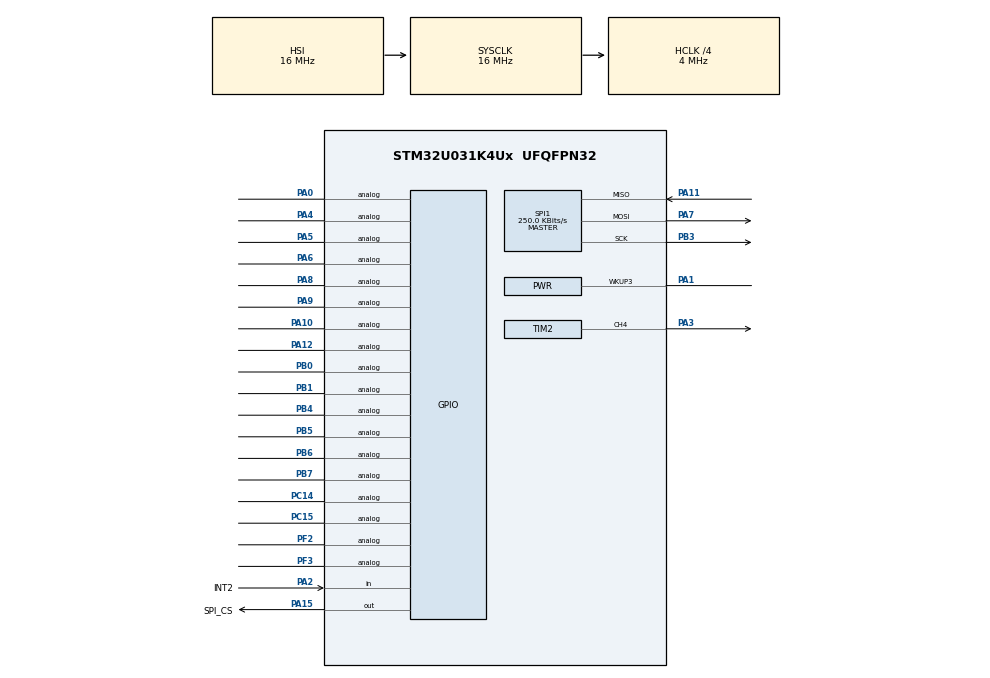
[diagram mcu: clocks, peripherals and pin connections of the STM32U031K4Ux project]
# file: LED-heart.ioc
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Mcu.Family=STM32U0
Mcu.Name=STM32U031K4Ux
Mcu.Package=UFQFPN32
NVIC.PriorityGroup=NVIC_PRIORITYGROUP_2
NVIC.RTC_TAMP_IRQn=true\:0\:0\:false\:false\:true\:true\:true\:true
NVIC.SPI1_IRQn=true\:0\:0\:false\:false\:true\:true\:true\:true
PA0-CK_IN.Signal=GPIO_Analog
PA1.Mode=WakeUp3
PA1.Signal=PWR_WKUP3
PA10.Signal=GPIO_Analog
PA11\ [PA9].Mode=Full_Duplex_Master
PA11\ [PA9].Signal=SPI1_MISO
PA12\ [PA10].Signal=GPIO_Analog
PA13\ (SWDIO).Mode=Serial_Wire
PA13\ (SWDIO).Signal=DEBUG_JTMS-SWDIO
PA14\ (SWCLK).Mode=Serial_Wire
PA14\ (SWCLK).Signal=DEBUG_JTCK-SWCLK
PA15.GPIO_Label=SPI_CS
PA15.PinState=GPIO_PIN_SET
PA15.Signal=GPIO_Output
PA2.GPIO_Label=INT2
PA2.Signal=GPIO_Input
PA3.Signal=S_TIM2_CH4
PA4.Signal=GPIO_Analog
PA5.Signal=GPIO_Analog
PA6.Signal=GPIO_Analog
PA7.Mode=Full_Duplex_Master
PA7.Signal=SPI1_MOSI
PA8.Signal=GPIO_Analog
PA9.Signal=GPIO_Analog
PB0.Signal=GPIO_Analog
PB1.Signal=GPIO_Analog
PB3.GPIO_PuPd=GPIO_PULLDOWN
PB3.Mode=Full_Duplex_Master
PB3.Signal=SPI1_SCK
PB4.Signal=GPIO_Analog
PB5.Signal=GPIO_Analog
PB6.Signal=GPIO_Analog
PB7.Signal=GPIO_Analog
PC14-OSC32_IN.Signal=GPIO_Analog
PC15-OSC32_OUT.Signal=GPIO_Analog
PF2-NRST.Signal=GPIO_Analog
PF3-BOOT0\ (BOOT0).Signal=GPIO_Analog
ProjectManager.HeapSize=0x200
ProjectManager.StackSize=0x400
ProjectManager.TargetToolchain=CMake
RCC.AHBCLKDivider=RCC_SYSCLK_DIV4
RCC.AHBFreq_Value=4000000
RCC.CortexFreq_Value=4000000
RCC.HCLKFreq_Value=4000000
RCC.HSE_VALUE=4000000
RCC.HSI48_VALUE=48000000
RCC.HSI_VALUE=16000000
RCC.LSE_VALUE=32768
RCC.MSI_VALUE=4000000
RCC.SYSCLKFreq_VALUE=16000000
RCC.VCOOutputFreq_Value=64000000
RCC.VDD_VALUE=3
SH.S_TIM2_CH4.0=TIM2_CH4,PWM Generation4 CH4
SPI1.BaudRatePrescaler=SPI_BAUDRATEPRESCALER_16
SPI1.CalculateBaudRate=250.0 KBits/s
SPI1.DataSize=SPI_DATASIZE_8BIT
SPI1.Direction=SPI_DIRECTION_2LINES
SPI1.Mode=SPI_MODE_MASTER
SPI1.NSSPMode=SPI_NSS_PULSE_DISABLE
SPI1.VirtualType=VM_MASTER
TIM2.Channel-PWM\ Generation4\ CH4=TIM_CHANNEL_4
TIM2.Period=249
TIM2.Prescaler=15
VP_PWR_VS_SECSignals.Mode=Security/Privilege
VP_RTC_VS_RTC_Activate.Mode=RTC_Enabled
VP_RTC_VS_RTC_WakeUp_intern.Mode=WakeUp
board=custom

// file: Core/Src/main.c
/* USER CODE BEGIN Header */
/**
  ******************************************************************************
  * @file           : main.c
  * @brief          : Main program body
  ******************************************************************************
  * @attention
  *
  * Copyright (c) 2026 STMicroelectronics.
  * All rights reserved.
  *
  * This software is licensed under terms that can be found in the LICENSE file
  * in the root directory of this software component.
  * If no LICENSE file comes with this software, it is provided AS-IS.
  *
  ******************************************************************************
  */

/* USER CODE END Header */
#include "main.h"

/* USER CODE BEGIN Includes */
#include <stdio.h>
#include "LIS2DW12.h"
#include "stm32u0xx_hal.h"
#include "stm32u0xx_hal_gpio.h"
/* USER CODE END Includes */

/* USER CODE BEGIN PTD */
typedef enum {
    SLEEP_MODE_LIGHT,
    SLEEP_MODE_DEEP,
    SLEEP_MODE_DEEP_FORCE
} SleepMode_t;

typedef enum {
    BEAT_LUB_RAMP_UP,
    BEAT_LUB_RAMP_DOWN,
    BEAT_GAP,
    BEAT_DUB_RAMP_UP,
    BEAT_DUB_RAMP_DOWN,
    BEAT_REST
} BeatPhase_t;

/* USER CODE END PTD */

/* USER CODE BEGIN PD */
#define SLEEP_TIMEOUT_MS 30000
#define LED_PWM_MAX 249  //matches TIM2 Period (ARR)

//Beat shape. "Lub" is the smaller first thump, "dub" the stronger second thump,
//separated by a short gap, followed by a longer rest before the next heartbeat.
#define LUB_RAMP_MS 40
#define GAP_MS      80
#define DUB_RAMP_MS 80

//RTC wakeup timer ticks per millisecond. RTCCLK is LSI (32 kHz, LSI_VALUE in
//stm32u0xx_hal_conf.h) and RTC_WAKEUPCLOCK_RTCCLK_DIV16 divides it by 16, giving
//2000 Hz - one tick per 0.5 ms. The 16-bit counter therefore spans 32.7 s, well
//over our 2000 ms longest sleep. This path bypasses the RTC prescalers entirely,
//so the calendar's 32768-vs-32000 mismatch does not apply.
#define RTC_WUT_TICKS_PER_MS 2u

//Shortest idle worth taking Stop 2 for. Below this the clock restart and the
//RTC arm/disarm cost more than the sleep saves, so plain WFI wins.
#define STOP_MIN_MS 20u
/* USER CODE END PD */

RTC_HandleTypeDef hrtc;

SPI_HandleTypeDef hspi1;

TIM_HandleTypeDef htim2;

/* USER CODE BEGIN PV */

/* Beat state machine position. File scope rather than static-local to led_tick()
   so the idle scheduler can ask how long the current phase has left to run. */
static BeatPhase_t beat_phase = BEAT_LUB_RAMP_UP;
static uint32_t beat_phase_start_tick = 0;

/* USER CODE END PV */

void SystemClock_Config(void);
static void MX_GPIO_Init(void);
static void MX_SPI1_Init(void);
static void MX_TIM2_Init(void);
static void MX_RTC_Init(void);
/* USER CODE BEGIN PFP */
uint8_t calculate_movement_score(int8_t acceleration_data[256][3]);
void go_to_sleep(SleepMode_t mode);
void auto_sleep_tick(uint8_t movement_score);
void led_tick(uint8_t movement_score);
static uint32_t beat_rest_ms(uint8_t movement_score);
static uint32_t led_ms_until_next_update(uint8_t movement_score);
static uint8_t led_phase_just_entered_rest(void);
static void sleep_stop2_ms(uint32_t ms);

/* USER CODE END PFP */

int main(void)
{

  /* MCU Configuration--------------------------------------------------------*/

  /* Reset of all peripherals, Initializes the Flash interface and the Systick. */
  HAL_Init();

  /* Configure the system clock */
  SystemClock_Config();

  /* Initialize all configured peripherals */
  MX_GPIO_Init();
  MX_SPI1_Init();
  MX_TIM2_Init();
  MX_RTC_Init();
  /* USER CODE BEGIN 2 */
  //Wake from Stop straight onto HSI16. The AHB prescaler (/4) is kept in RCC_CFGR
  //across Stop, so this lands back on HCLK = 4 MHz with flash latency 0 still
  //correct - identical to the running config, and no clock reconfiguration is
  //needed on each wake. Waking onto MSI instead would change HCLK and silently
  //shift every timing constant.
  __HAL_RCC_WAKEUPSTOP_CLK_CONFIG(RCC_STOP_WAKEUPCLOCK_HSI);

  HAL_TIM_PWM_Start(&htim2, TIM_CHANNEL_4);

  //If accelerometer init fails, flash light and then go to sleep forever
  HAL_Delay(1);
  if (LIS2DW12_init(&hspi1) != 0){
    uint32_t flash_start_time = HAL_GetTick();

    while (HAL_GetTick() < flash_start_time + 10000){
      __HAL_TIM_SET_COMPARE(&htim2, TIM_CHANNEL_4, LED_PWM_MAX); // full on
      HAL_Delay(100);
      __HAL_TIM_SET_COMPARE(&htim2, TIM_CHANNEL_4, 0);           // off
      HAL_Delay(100);
    }
    go_to_sleep(SLEEP_MODE_DEEP_FORCE);

    while (1){
      __NOP();
    }
  }
  /* USER CODE END 2 */

  /* Infinite loop */
  /* USER CODE BEGIN WHILE */

  while (1)
  {
    static int8_t acceleration_data[256][3];
    static uint8_t FIFO_unread_length = 0;
    static uint8_t movement_score = 0;

    led_tick(movement_score);

    //Service the accelerometer once per beat, at the moment the beat enters its
    //rest phase. The read costs roughly 10ms (three HAL_Delay(1) inside the driver,
    //a ~150 byte burst at 250 kbit/s, then the 256-sample score), which disappears
    //inside a 150-2000ms rest but would visibly stutter a 40ms ramp.
    //
    //Deferring the read like this is also what makes sleeping safe: INT2 is left as
    //a polled input rather than a wake source, so every sleep runs for exactly the
    //duration we asked for and the SysTick correction in sleep_stop2_ms() is exact.
    //The cost is that motion starting mid-rest is not noticed until the next beat,
    //up to ~2.2s at the slowest rate.
    if (led_phase_just_entered_rest()){

      if (HAL_GPIO_ReadPin(INT2_GPIO_Port, INT2_Pin) == 1){
        if (LIS2DW12_read_FIFO(&hspi1, &FIFO_unread_length, acceleration_data) == 0){
          movement_score = calculate_movement_score(acceleration_data);
        }
        else {
          //Error reading FIFO
          __NOP();
        }
      }

      //Only reacts to movement_score, which now only changes here.
      auto_sleep_tick(movement_score);
    }

    //Idle out whatever is left before the PWM must next move. The long static
    //stretches (gap and rest) are worth stopping the CPU for; during the ramps the
    //duty changes every tick, so just gate the core clock until the next SysTick.
    uint32_t idle_ms = led_ms_until_next_update(movement_score);

    if (idle_ms >= STOP_MIN_MS){
      sleep_stop2_ms(idle_ms);
    }
    else {
      HAL_PWR_EnterSLEEPMode(PWR_MAINREGULATOR_ON, PWR_SLEEPENTRY_WFI);
    }

    /* USER CODE END WHILE */

  }
}

void SystemClock_Config(void)
{
  RCC_OscInitTypeDef RCC_OscInitStruct = {0};
  RCC_ClkInitTypeDef RCC_ClkInitStruct = {0};

  /** Configure the main internal regulator output voltage
  */
  HAL_PWREx_ControlVoltageScaling(PWR_REGULATOR_VOLTAGE_SCALE2);

  /** Initializes the RCC Oscillators according to the specified parameters
  * in the RCC_OscInitTypeDef structure.
  */
  RCC_OscInitStruct.OscillatorType = RCC_OSCILLATORTYPE_HSI|RCC_OSCILLATORTYPE_LSI;
  RCC_OscInitStruct.HSIState = RCC_HSI_ON;
  RCC_OscInitStruct.HSICalibrationValue = RCC_HSICALIBRATION_DEFAULT;
  RCC_OscInitStruct.LSIState = RCC_LSI_ON;
  RCC_OscInitStruct.PLL.PLLState = RCC_PLL_NONE;
  if (HAL_RCC_OscConfig(&RCC_OscInitStruct) != HAL_OK)
  {
    Error_Handler();
  }

  /** Initializes the CPU, AHB and APB buses clocks
  */
  RCC_ClkInitStruct.ClockType = RCC_CLOCKTYPE_HCLK|RCC_CLOCKTYPE_SYSCLK
                              |RCC_CLOCKTYPE_PCLK1;
  RCC_ClkInitStruct.SYSCLKSource = RCC_SYSCLKSOURCE_HSI;
  RCC_ClkInitStruct.AHBCLKDivider = RCC_SYSCLK_DIV4;
  RCC_ClkInitStruct.APB1CLKDivider = RCC_HCLK_DIV1;

  if (HAL_RCC_ClockConfig(&RCC_ClkInitStruct, FLASH_LATENCY_0) != HAL_OK)
  {
    Error_Handler();
  }
}

static void MX_RTC_Init(void)
{

  /** Initialize RTC Only
  */
  hrtc.Instance = RTC;
  hrtc.Init.HourFormat = RTC_HOURFORMAT_24;
  hrtc.Init.AsynchPrediv = 127;
  hrtc.Init.SynchPrediv = 255;
  hrtc.Init.OutPut = RTC_OUTPUT_DISABLE;
  hrtc.Init.OutPutRemap = RTC_OUTPUT_REMAP_NONE;
  hrtc.Init.OutPutPolarity = RTC_OUTPUT_POLARITY_HIGH;
  hrtc.Init.OutPutType = RTC_OUTPUT_TYPE_OPENDRAIN;
  hrtc.Init.OutPutPullUp = RTC_OUTPUT_PULLUP_NONE;
  hrtc.Init.BinMode = RTC_BINARY_NONE;
  if (HAL_RTC_Init(&hrtc) != HAL_OK)
  {
    Error_Handler();
  }

  /** Enable the WakeUp
  */
  if (HAL_RTCEx_SetWakeUpTimer_IT(&hrtc, 0, RTC_WAKEUPCLOCK_RTCCLK_DIV16, 0) != HAL_OK)
  {
    Error_Handler();
  }
  /* USER CODE BEGIN RTC_Init 2 */
  /* CubeMX arms the wakeup timer above with a reload of 0, which at RTCCLK/16
     retriggers every 0.5ms forever. We drive the timer per-sleep from
     sleep_stop2_ms() instead, so shut it down until the first sleep asks for it.
     Kept here rather than deleting the generated call, which would come back on
     the next regeneration. */
  HAL_RTCEx_DeactivateWakeUpTimer(&hrtc);
  /* USER CODE END RTC_Init 2 */

}

static void MX_SPI1_Init(void)
{

  /* SPI1 parameter configuration*/
  hspi1.Instance = SPI1;
  hspi1.Init.Mode = SPI_MODE_MASTER;
  hspi1.Init.Direction = SPI_DIRECTION_2LINES;
  hspi1.Init.DataSize = SPI_DATASIZE_8BIT;
  hspi1.Init.CLKPolarity = SPI_POLARITY_LOW;
  hspi1.Init.CLKPhase = SPI_PHASE_1EDGE;
  hspi1.Init.NSS = SPI_NSS_SOFT;
  hspi1.Init.BaudRatePrescaler = SPI_BAUDRATEPRESCALER_16;
  hspi1.Init.FirstBit = SPI_FIRSTBIT_MSB;
  hspi1.Init.TIMode = SPI_TIMODE_DISABLE;
  hspi1.Init.CRCCalculation = SPI_CRCCALCULATION_DISABLE;
  hspi1.Init.CRCPolynomial = 7;
  hspi1.Init.CRCLength = SPI_CRC_LENGTH_DATASIZE;
  hspi1.Init.NSSPMode = SPI_NSS_PULSE_DISABLE;
  if (HAL_SPI_Init(&hspi1) != HAL_OK)
  {
    Error_Handler();
  }

}

static void MX_TIM2_Init(void)
{

  TIM_MasterConfigTypeDef sMasterConfig = {0};
  TIM_OC_InitTypeDef sConfigOC = {0};

  htim2.Instance = TIM2;
  htim2.Init.Prescaler = 15;
  htim2.Init.CounterMode = TIM_COUNTERMODE_UP;
  htim2.Init.Period = 249;
  htim2.Init.ClockDivision = TIM_CLOCKDIVISION_DIV1;
  htim2.Init.AutoReloadPreload = TIM_AUTORELOAD_PRELOAD_DISABLE;
  if (HAL_TIM_PWM_Init(&htim2) != HAL_OK)
  {
    Error_Handler();
  }
  sMasterConfig.MasterOutputTrigger = TIM_TRGO_RESET;
  sMasterConfig.MasterSlaveMode = TIM_MASTERSLAVEMODE_DISABLE;
  if (HAL_TIMEx_MasterConfigSynchronization(&htim2, &sMasterConfig) != HAL_OK)
  {
    Error_Handler();
  }
  sConfigOC.OCMode = TIM_OCMODE_PWM1;
  sConfigOC.Pulse = 0;
  sConfigOC.OCPolarity = TIM_OCPOLARITY_HIGH;
  sConfigOC.OCFastMode = TIM_OCFAST_DISABLE;
  if (HAL_TIM_PWM_ConfigChannel(&htim2, &sConfigOC, TIM_CHANNEL_4) != HAL_OK)
  {
    Error_Handler();
  }
  HAL_TIM_MspPostInit(&htim2);

}

static void MX_GPIO_Init(void)
{
  GPIO_InitTypeDef GPIO_InitStruct = {0};

  /* GPIO Ports Clock Enable */
  __HAL_RCC_GPIOC_CLK_ENABLE();
  __HAL_RCC_GPIOF_CLK_ENABLE();
  __HAL_RCC_GPIOA_CLK_ENABLE();
  __HAL_RCC_GPIOB_CLK_ENABLE();

  /*Configure GPIO pin Output Level */
  HAL_GPIO_WritePin(SPI_CS_GPIO_Port, SPI_CS_Pin, GPIO_PIN_SET);

  /*Configure GPIO pins : PC14 PC15 */
  GPIO_InitStruct.Pin = GPIO_PIN_14|GPIO_PIN_15;
  GPIO_InitStruct.Mode = GPIO_MODE_ANALOG;
  GPIO_InitStruct.Pull = GPIO_NOPULL;
  HAL_GPIO_Init(GPIOC, &GPIO_InitStruct);

  /*Configure GPIO pins : PF2 PF3 */
  GPIO_InitStruct.Pin = GPIO_PIN_2|GPIO_PIN_3;
  GPIO_InitStruct.Mode = GPIO_MODE_ANALOG;
  GPIO_InitStruct.Pull = GPIO_NOPULL;
  HAL_GPIO_Init(GPIOF, &GPIO_InitStruct);

  /*Configure GPIO pins : PA0 PA4 PA5 PA6
                           PA8 PA9 PA10 PA12 */
  GPIO_InitStruct.Pin = GPIO_PIN_0|GPIO_PIN_4|GPIO_PIN_5|GPIO_PIN_6
                          |GPIO_PIN_8|GPIO_PIN_9|GPIO_PIN_10|GPIO_PIN_12;
  GPIO_InitStruct.Mode = GPIO_MODE_ANALOG;
  GPIO_InitStruct.Pull = GPIO_NOPULL;
  HAL_GPIO_Init(GPIOA, &GPIO_InitStruct);

  /*Configure GPIO pin : INT2_Pin */
  GPIO_InitStruct.Pin = INT2_Pin;
  GPIO_InitStruct.Mode = GPIO_MODE_INPUT;
  GPIO_InitStruct.Pull = GPIO_NOPULL;
  HAL_GPIO_Init(INT2_GPIO_Port, &GPIO_InitStruct);

  /*Configure GPIO pins : PB0 PB1 PB4 PB5
                           PB6 PB7 */
  GPIO_InitStruct.Pin = GPIO_PIN_0|GPIO_PIN_1|GPIO_PIN_4|GPIO_PIN_5
                          |GPIO_PIN_6|GPIO_PIN_7;
  GPIO_InitStruct.Mode = GPIO_MODE_ANALOG;
  GPIO_InitStruct.Pull = GPIO_NOPULL;
  HAL_GPIO_Init(GPIOB, &GPIO_InitStruct);

  /*Configure GPIO pin : SPI_CS_Pin */
  GPIO_InitStruct.Pin = SPI_CS_Pin;
  GPIO_InitStruct.Mode = GPIO_MODE_OUTPUT_PP;
  GPIO_InitStruct.Pull = GPIO_NOPULL;
  GPIO_InitStruct.Speed = GPIO_SPEED_FREQ_LOW;
  HAL_GPIO_Init(SPI_CS_GPIO_Port, &GPIO_InitStruct);

}

/* USER CODE BEGIN 4 */

#define MOVEMENT_MAX_AVG_DELTA 15

uint8_t calculate_movement_score(int8_t acceleration_data[256][3]){

  uint32_t total_variation = 0;

  //Sum the sample-to-sample change on each axis. Using deltas rather than raw magnitude cancels
  //out the constant gravity offset baked into whichever axis is vertical, so the score reflects
  //actual motion rather than orientation.
  for (uint16_t i = 1; i < 256; i++){
    for (uint8_t axis = 0; axis < 3; axis++){
      int16_t delta = (int16_t)acceleration_data[i][axis] - (int16_t)acceleration_data[i - 1][axis];
      total_variation += (delta < 0) ? -delta : delta;
    }
  }

  uint32_t avg_delta = total_variation / (255 * 3);
  uint32_t score = (avg_delta * 100) / MOVEMENT_MAX_AVG_DELTA;
  if (score > 100) score = 100;

  return (uint8_t)score;
}

/* Bit mask covering all 16 I/O positions. The PWR pull helpers mask this
   down to the pins that actually exist on the sparse ports (D, F) internally. */
#define ALL_GPIO_PINS (PWR_GPIO_BIT_0  | PWR_GPIO_BIT_1  | PWR_GPIO_BIT_2  | PWR_GPIO_BIT_3  | \
                       PWR_GPIO_BIT_4  | PWR_GPIO_BIT_5  | PWR_GPIO_BIT_6  | PWR_GPIO_BIT_7  | \
                       PWR_GPIO_BIT_8  | PWR_GPIO_BIT_9  | PWR_GPIO_BIT_10 | PWR_GPIO_BIT_11 | \
                       PWR_GPIO_BIT_12 | PWR_GPIO_BIT_13 | PWR_GPIO_BIT_14 | PWR_GPIO_BIT_15)

/* Entering Shutdown releases the GPIO output drivers and only the PWR block's pull
   config survives, so it alone decides what every net sits at while asleep. The
   STM32's own I/O logic is unpowered - a floating pin costs the MCU nothing - so
   the pulls exist purely for the parts on the other end of the nets, and which
   direction each one needs depends on who drives it:

     - Sensor INPUTS (SCK PB3, SDI PA7, CS PA15) must be held. Left floating they
       drift to mid-rail and burn crowbar current in the LIS2DW12's input buffers.
       CS is held HIGH to keep the device deselected; the rest idle low (CPOL=0).
     - Sensor OUTPUTS (SDO PA11, INT1 PA1, INT2 PA2) must be left alone. These are
       push-pull drivers, so a pull cannot help and can only fight: a ~40k pull-down
       against a driver asserting high wastes ~70uA at 2.8V. INT2 is the trap - it
       is not a wake pin, so it can sit asserted and burn current indefinitely
       without ever waking the board to reveal the problem.
     - PA3 drives the LED and is held LOW so the LED (or its driver) stays off.
     - PA13/PA14 are SWDIO/SWCLK, left unpulled so we never fight a debug probe.
     - Everything else is unconnected; pulled low as harmless insurance. */
#define PORT_A_SENSOR_OUTPUTS (PWR_GPIO_BIT_1 | PWR_GPIO_BIT_2 | PWR_GPIO_BIT_11)
#define PORT_A_SWD_PINS       (PWR_GPIO_BIT_13 | PWR_GPIO_BIT_14)
#define PORT_A_PULLDOWN_PINS  (ALL_GPIO_PINS & ~(PORT_A_SENSOR_OUTPUTS | \
                                                 PORT_A_SWD_PINS | PWR_GPIO_BIT_15))

static void configure_shutdown_pin_pulls(void){
  HAL_PWREx_EnableGPIOPullDown(PWR_GPIO_A, PORT_A_PULLDOWN_PINS);
  HAL_PWREx_EnableGPIOPullUp(PWR_GPIO_A, PWR_GPIO_BIT_15);
  HAL_PWREx_EnableGPIOPullDown(PWR_GPIO_B, ALL_GPIO_PINS);
  HAL_PWREx_EnableGPIOPullDown(PWR_GPIO_C, ALL_GPIO_PINS);
  HAL_PWREx_EnableGPIOPullDown(PWR_GPIO_D, ALL_GPIO_PINS);
  HAL_PWREx_EnableGPIOPullDown(PWR_GPIO_F, ALL_GPIO_PINS);
  HAL_PWREx_EnablePullUpPullDownConfig();
}

/* Wait for the accelerometer's INT1 to be quiet before arming WKUP3.
   PWR_WAKEUP_PIN3_HIGH is level-triggered, so arming it while INT1 is still
   asserted sets WUF3 immediately and Shutdown exits the moment it is entered -
   clearing the flag first does not help, because the level re-sets it. That is
   exactly the ~650ms false-sleep: the wake engine was still chewing through the
   filter transient left by configure_sleep's ODR/FS change, INT1 was high, and the
   board woke and reset instead of sleeping.

   The settle delay in configure_sleep gets most of the way there; this closes the
   gap adaptively rather than relying on that delay being exactly long enough.
   INT1 is pulsed (CTRL3.LIR = 0), so re-reading the source registers each pass
   drops anything latched while we wait.

   Returns 1 if INT1 settled low, 0 if it was still asserted at the timeout. */
#define INT1_QUIET_TIMEOUT_MS 3000
#define INT1_QUIET_HOLD_MS    100

static uint8_t wait_for_int1_quiet(void){

    GPIO_InitTypeDef GPIO_InitStruct = {0};

    /* Read-only peek at the wake pin. No pull: INT1 is a push-pull output on the
       sensor side, so a pull could only fight it. */
    GPIO_InitStruct.Pin = INT1_Pin;
    GPIO_InitStruct.Mode = GPIO_MODE_INPUT;
    GPIO_InitStruct.Pull = GPIO_NOPULL;
    HAL_GPIO_Init(INT1_GPIO_Port, &GPIO_InitStruct);

    uint32_t start = HAL_GetTick();
    uint32_t quiet_since = start;

    while ((HAL_GetTick() - start) < INT1_QUIET_TIMEOUT_MS){

        if (HAL_GPIO_ReadPin(INT1_GPIO_Port, INT1_Pin) == GPIO_PIN_SET){
            /* Still firing. Clear the latched source and restart the hold window. */
            LIS2DW12_clear_interrupt_sources(&hspi1);
            quiet_since = HAL_GetTick();
        }
        else if ((HAL_GetTick() - quiet_since) >= INT1_QUIET_HOLD_MS){
            /* Low, and stayed low long enough that it is not between pulses. */
            return 1;
        }
    }

    return 0;
}

void go_to_sleep(SleepMode_t mode){
    switch (mode) {
        case SLEEP_MODE_DEEP:
            /* PA1 = WKUP3, wired to the accelerometer's INT1. Movement drives it high,
               so wake on a high level. Clear any stale wake flag before enabling,
               otherwise a flag left set from a previous event wakes us immediately. */

            if(!LIS2DW12_configure_sleep(&hspi1) && wait_for_int1_quiet()){
              configure_shutdown_pin_pulls();
              __HAL_PWR_CLEAR_FLAG(PWR_FLAG_WUF3);
              HAL_PWR_EnableWakeUpPin(PWR_WAKEUP_PIN3_HIGH);
              HAL_PWR_EnterSHUTDOWNMode();
            }
            else{
              /* Either configuring the accelerometer for wake-up failed, or INT1 never
                 went quiet. Don't enter Shutdown: with no usable wake source the board
                 would never wake, and arming against a stuck-high INT1 just burns a
                 wake-reset cycle. The caller backs off and retries later.

                 configure_sleep has already left the sensor in its sleep config by this
                 point - 1.6 Hz, FIFO bypassed, INT2 unrouted - so movement_score would
                 be stuck at 0 and the board would be deaf to motion until it managed to
                 sleep. Re-init to put it back to work in the meantime. */
              LIS2DW12_init(&hspi1);
            }

            break;

        case SLEEP_MODE_DEEP_FORCE:
          /* Forced path: used when the sensor has already failed init, so there may be
             no working wake source at all. Sleep regardless - a board that never wakes
             is the intended outcome here, and is far better than one left flashing. */
          LIS2DW12_configure_sleep(&hspi1);
          wait_for_int1_quiet();
          configure_shutdown_pin_pulls();
          __HAL_PWR_CLEAR_FLAG(PWR_FLAG_WUF3);
          HAL_PWR_EnableWakeUpPin(PWR_WAKEUP_PIN3_HIGH);
          HAL_PWR_EnterSHUTDOWNMode();
          break;

        case SLEEP_MODE_LIGHT:

        default:
            /* light sleep config */
            break;
    }
}

void auto_sleep_tick(uint8_t movement_score){

  static uint32_t zero_score_start_tick = 0;
  static uint8_t zero_score_timer_active = 0;

  if (movement_score == 0){

    if (!zero_score_timer_active){
      zero_score_timer_active = 1;
      zero_score_start_tick = HAL_GetTick();
    }

    else if ((HAL_GetTick() - zero_score_start_tick) >= SLEEP_TIMEOUT_MS){

      go_to_sleep(SLEEP_MODE_DEEP);

      /* Still running, so Shutdown was not entered. Restart the timer to back off
         for another SLEEP_TIMEOUT_MS. Without this the elapsed check stays true and
         go_to_sleep is retried on every beat - and since a failed attempt leaves the
         sensor in its sleep config (FIFO bypassed, INT2 unrouted), movement_score can
         never climb back off zero to break the cycle. That would stall the beat for
         the full settle time, every beat, indefinitely. */
      zero_score_start_tick = HAL_GetTick();
    }
  }
  else {
    zero_score_timer_active = 0;
  }
}

//Rest period shortens as movement increases, mimicking a rising heart rate.
//Score 0 -> 2000ms rest, score 100 -> 150ms rest.
static uint32_t beat_rest_ms(uint8_t movement_score){
    return 2000 - ((uint32_t)movement_score * 1850) / 100;
}

void led_tick(uint8_t movement_score){

    uint32_t now = HAL_GetTick();
    uint32_t elapsed = now - beat_phase_start_tick;
    uint32_t rest_ms = beat_rest_ms(movement_score);

    uint32_t duty = 0;

    switch (beat_phase){
        case BEAT_LUB_RAMP_UP:
            duty = (elapsed * (LED_PWM_MAX / 2)) / LUB_RAMP_MS;
            if (elapsed >= LUB_RAMP_MS){
                beat_phase = BEAT_LUB_RAMP_DOWN;
                beat_phase_start_tick = now;
                duty = LED_PWM_MAX / 2;
            }
            break;

        case BEAT_LUB_RAMP_DOWN:
            duty = (LED_PWM_MAX / 2) - (elapsed * (LED_PWM_MAX / 2)) / LUB_RAMP_MS;
            if (elapsed >= LUB_RAMP_MS){
                beat_phase = BEAT_GAP;
                beat_phase_start_tick = now;
                duty = 0;
            }
            break;

        case BEAT_GAP:
            duty = 0;
            if (elapsed >= GAP_MS){
                beat_phase = BEAT_DUB_RAMP_UP;
                beat_phase_start_tick = now;
            }
            break;

        case BEAT_DUB_RAMP_UP:
            duty = (elapsed * LED_PWM_MAX) / DUB_RAMP_MS;
            if (elapsed >= DUB_RAMP_MS){
                beat_phase = BEAT_DUB_RAMP_DOWN;
                beat_phase_start_tick = now;
                duty = LED_PWM_MAX;
            }
            break;

        case BEAT_DUB_RAMP_DOWN:
            duty = LED_PWM_MAX - (elapsed * LED_PWM_MAX) / DUB_RAMP_MS;
            if (elapsed >= DUB_RAMP_MS){
                beat_phase = BEAT_REST;
                beat_phase_start_tick = now;
                duty = 0;
            }
            break;

        case BEAT_REST:
        default:
            duty = 0;
            if (elapsed >= rest_ms){
                beat_phase = BEAT_LUB_RAMP_UP;
                beat_phase_start_tick = now;
            }
            break;
    }

    if (duty > LED_PWM_MAX) duty = LED_PWM_MAX; //clamp against rounding overshoot at phase boundaries

    __HAL_TIM_SET_COMPARE(&htim2, TIM_CHANNEL_4, duty);
}

//How long until led_tick() next has to change the PWM duty. During the ramps the
//duty moves every millisecond, so there is nothing to skip; during the gap and
//rest the output is static and the CPU can be stopped for the remainder.
//Call only after led_tick(), so the phase and elapsed time are current.
static uint32_t led_ms_until_next_update(uint8_t movement_score){

    uint32_t elapsed = HAL_GetTick() - beat_phase_start_tick;
    uint32_t phase_ms;

    switch (beat_phase){
        case BEAT_GAP:
            phase_ms = GAP_MS;
            break;

        case BEAT_REST:
            phase_ms = beat_rest_ms(movement_score);
            break;

        default:
            //Ramping: duty changes on every tick.
            return 1;
    }

    //led_tick() only advances the phase once elapsed has reached the phase length,
    //so sleeping the whole remainder lands us on the transition rather than past it.
    return (elapsed >= phase_ms) ? 0 : (phase_ms - elapsed);
}

//True on the single iteration that led_tick() moved the beat into its rest phase.
//That transition is the one point in the cycle with a long stretch of static
//output ahead, which is where the accelerometer read is cheapest to hide.
static uint8_t led_phase_just_entered_rest(void){

    static BeatPhase_t previous_phase = BEAT_LUB_RAMP_UP;

    uint8_t entered = (beat_phase == BEAT_REST) && (previous_phase != BEAT_REST);
    previous_phase = beat_phase;

    return entered;
}

//Stop the CPU for ms milliseconds, woken by the RTC wakeup timer.
//
//SysTick is not clocked in Stop 2, so HAL_GetTick() would otherwise lose the whole
//sleep and every timebase built on it (the beat state machine, the 30s inactivity
//timer, the driver's SPI timeouts) would stall. Because the caller chooses the
//duration and the accelerometer is deliberately not a wake source, the elapsed
//time is known exactly and uwTick can simply be advanced by it.
static void sleep_stop2_ms(uint32_t ms){

    uint32_t ticks = ms * RTC_WUT_TICKS_PER_MS;

    if (ticks == 0u){
        return;
    }

    /* The counter reload is zero-based: a value of n wakes after n+1 ticks. */
    if (HAL_RTCEx_SetWakeUpTimer_IT(&hrtc, ticks - 1u,
                                    RTC_WAKEUPCLOCK_RTCCLK_DIV16, 0u) != HAL_OK){
        /* Without an armed wake source Stop would never end, so stay awake and
           let the caller's normal timing carry on. */
        return;
    }

    HAL_SuspendTick();
    HAL_PWREx_EnterSTOP2Mode(PWR_STOPENTRY_WFI);
    HAL_ResumeTick();

    HAL_RTCEx_DeactivateWakeUpTimer(&hrtc);

    uwTick += ms;
}

/* USER CODE END 4 */

void Error_Handler(void)
{
  __disable_irq();
  while (1)
  {
  }
}
